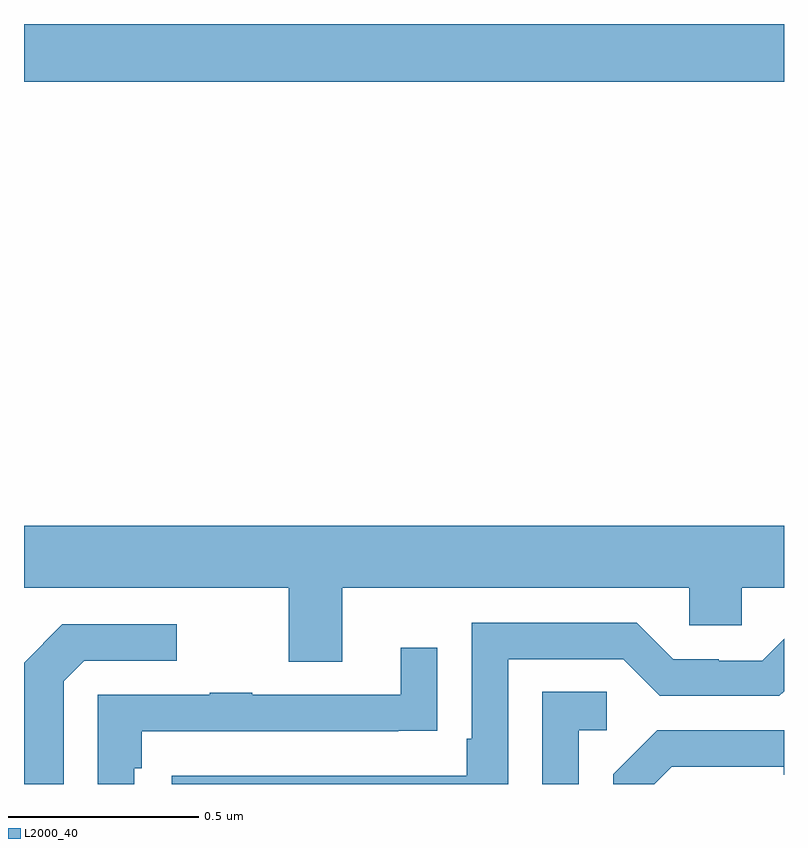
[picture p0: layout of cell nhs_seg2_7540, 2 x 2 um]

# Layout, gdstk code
import gdstk
lib = gdstk.Library(unit=1e-6, precision=1e-09)
def R(c, l, rs):  # rectangles x0, y0, x1, y1
    for r in rs: c.add(gdstk.rectangle(r[:2], r[2:], *l))
def P(c, l, *ps):  # polygons
    for p in ps: c.add(gdstk.Polygon(p, *l))
L2000_40 = (2000, 40)

nhs_seg2_7540 = lib.new_cell('nhs_seg2_7540')
R(nhs_seg2_7540, L2000_40, [(205,635.648,207,635.8)])
P(nhs_seg2_7540, L2000_40, [(205,634.316),(205.697,634.316),(205.697,634.122),(205.837,634.122),(205.837,634.316),(206.751,634.316),(206.751,634.218),(206.889,634.218),(206.889,634.316),(207,634.316),(207,634.48),(205,634.48)],
  [(206.274,634.128),(206.577,634.128),(206.673,634.032),(206.988,634.032),(207,634.044),(207,634.182),(206.943,634.125),(206.828,634.125),(206.828,634.128),(206.709,634.128),(206.613,634.224),(206.178,634.224),(206.178,633.919),(206.165,633.919),(206.165,633.822),(205.389,633.822),(205.389,633.8),(206.274,633.8)],
  [(205.104,634.071),(205.158,634.125),(205.402,634.125),(205.402,634.221),(205.101,634.221),(205,634.119),(205,633.8),(205.104,633.8)],
  [(205.29,633.842),(205.31,633.842),(205.31,633.939),(205.985,633.939),(205.985,633.94),(206.087,633.94),(206.087,634.159),(205.991,634.159),(205.991,634.035),(205.601,634.035),(205.601,634.04),(205.489,634.04),(205.489,634.035),(205.194,634.035),(205.194,633.8),(205.29,633.8)],
  [(206.46,633.942),(206.533,633.942),(206.533,634.043),(206.364,634.043),(206.364,633.8),(206.46,633.8)],
  [(206.704,633.846),(206.999,633.846),(206.999,633.824),(207,633.824),(207,633.942),(206.666,633.942),(206.55,633.826),(206.55,633.8),(206.658,633.8)])

lib.write_gds('nhs_seg2_7540.gds')
